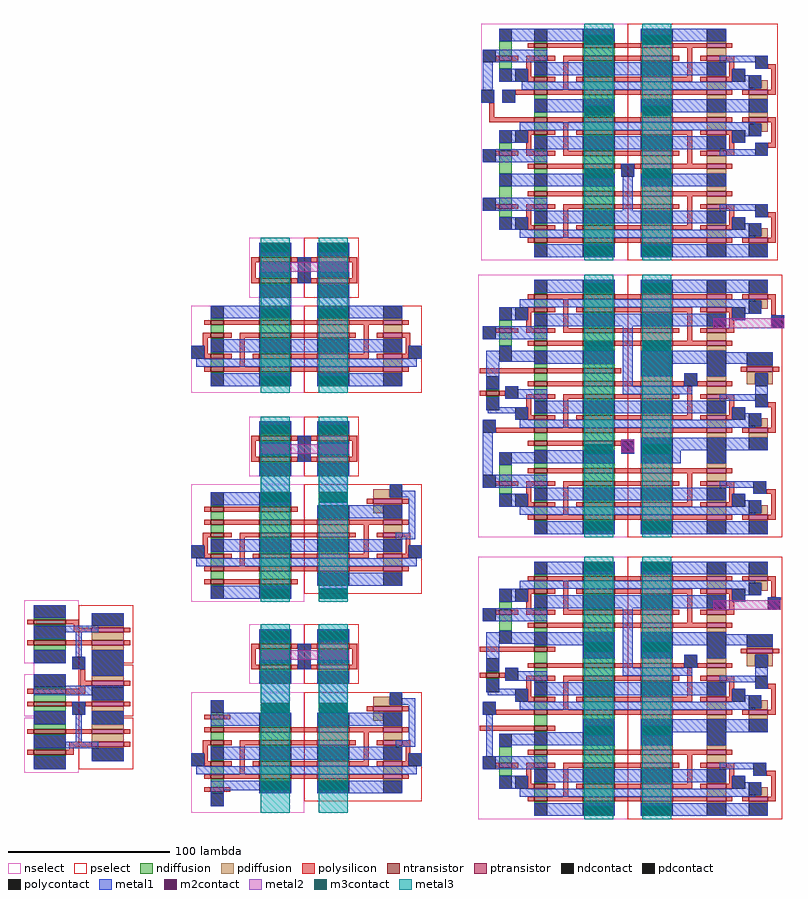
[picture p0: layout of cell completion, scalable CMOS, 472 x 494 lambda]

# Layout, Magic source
magic
tech scmos
use m_c2inv m_c2inv_0
transform 1 0 -13 0 1 -148
box -71 -12 74 84
use m_c4 m_c4_0
transform 1 0 188 0 1 -125
box -92 47 94 194
use s_or4 s_or4_0
transform 1 0 -153 0 1 -372
box -35 -24 35 83
use m_c2inv_rlo m_c2inv_rlo_0
transform 1 0 -13 0 1 -248
box -71 -42 74 73
use m_c4_rhi m_c4_rhi_0
transform 1 0 188 0 1 -252
box -94 2 98 165
use m_c2inv_plo m_c2inv_plo_0
transform 1 0 -13 0 1 -383
box -71 -38 74 79
use m_c4_phi m_c4_phi_0
transform 1 0 188 0 1 -422
box -94 -3 97 160
<< end >>

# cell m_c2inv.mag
magic
tech scmos
<< nselect >>
rect -34 47 0 84
rect -70 -12 0 42
<< pselect >>
rect 0 47 34 84
rect 0 -12 73 42
<< ndiffusion >>
rect -28 72 -8 73
rect -28 68 -8 69
rect -28 59 -8 60
rect -28 55 -8 56
rect -58 33 -50 34
rect -28 33 -8 34
rect -58 25 -50 30
rect -28 25 -8 30
rect -58 21 -50 22
rect -58 12 -50 13
rect -58 4 -50 9
rect -28 21 -8 22
rect -28 12 -8 13
rect -28 4 -8 9
rect -58 0 -50 1
rect -28 0 -8 1
<< pdiffusion >>
rect 8 72 28 73
rect 8 68 28 69
rect 8 59 28 60
rect 8 55 28 56
rect 8 33 28 34
rect 49 33 61 34
rect 8 25 28 30
rect 8 21 28 22
rect 8 12 28 13
rect 49 25 61 30
rect 49 21 61 22
rect 49 12 61 13
rect 8 4 28 9
rect 49 4 61 9
rect 8 0 28 1
rect 49 0 61 1
<< ntransistor >>
rect -28 69 -8 72
rect -28 56 -8 59
rect -58 30 -50 33
rect -28 30 -8 33
rect -58 22 -50 25
rect -28 22 -8 25
rect -58 9 -50 12
rect -28 9 -8 12
rect -58 1 -50 4
rect -28 1 -8 4
<< ptransistor >>
rect 8 69 28 72
rect 8 56 28 59
rect 8 30 28 33
rect 49 30 61 33
rect 8 22 28 25
rect 49 22 61 25
rect 8 9 28 12
rect 49 9 61 12
rect 8 1 28 4
rect 49 1 61 4
<< polysilicon >>
rect -33 69 -28 72
rect -8 69 -4 72
rect -33 59 -30 69
rect -33 56 -28 59
rect -8 56 -4 59
rect 4 69 8 72
rect 28 69 33 72
rect 30 59 33 69
rect 4 56 8 59
rect 28 56 33 59
rect -62 30 -58 33
rect -50 30 -28 33
rect -8 30 8 33
rect 28 30 49 33
rect 61 30 65 33
rect -63 22 -58 25
rect -50 22 -45 25
rect -40 22 -28 25
rect -8 22 8 25
rect 28 22 32 25
rect -63 17 -60 22
rect -62 12 -60 17
rect -62 9 -58 12
rect -50 9 -45 12
rect -40 4 -37 22
rect 37 12 40 30
rect 45 22 49 25
rect 61 22 66 25
rect 63 17 66 22
rect 63 12 65 17
rect -32 9 -28 12
rect -8 9 8 12
rect 28 9 40 12
rect 45 9 49 12
rect 61 9 65 12
rect -62 1 -58 4
rect -50 1 -28 4
rect -8 1 8 4
rect 28 1 49 4
rect 61 1 65 4
<< ndcontact >>
rect -28 73 -8 81
rect -28 60 -8 68
rect -28 47 -8 55
rect -58 34 -50 42
rect -28 34 -8 42
rect -58 13 -50 21
rect -28 13 -8 21
rect -58 -8 -50 0
rect -28 -8 -8 0
<< pdcontact >>
rect 8 73 28 81
rect 8 60 28 68
rect 8 47 28 55
rect 8 34 28 42
rect 49 34 61 42
rect 8 13 28 21
rect 49 13 61 21
rect 8 -8 28 0
rect 49 -8 61 0
<< polycontact >>
rect -4 56 4 72
rect -70 9 -62 17
rect 65 9 73 17
<< metal1 >>
rect -28 75 -27 81
rect -9 75 -8 81
rect -28 73 -8 75
rect 8 75 9 81
rect 27 75 28 81
rect 8 73 28 75
rect -28 60 -8 63
rect -4 56 4 72
rect 8 60 28 63
rect -28 42 -8 55
rect -58 40 -8 42
rect -58 34 -27 40
rect -9 34 -8 40
rect 8 42 28 55
rect 8 40 61 42
rect 8 34 9 40
rect 27 34 61 40
rect -70 9 -62 17
rect -58 13 61 21
rect 65 9 73 17
rect -67 4 70 9
rect -58 -2 -8 0
rect -58 -8 -27 -2
rect -9 -8 -8 -2
rect 8 -2 61 0
rect 8 -8 9 -2
rect 27 -8 61 -2
<< m2contact >>
rect -27 75 -9 81
rect 9 75 27 81
rect -28 63 -8 69
rect 8 63 28 69
rect -27 34 -9 40
rect 9 34 27 40
rect -27 -8 -9 -2
rect 9 -8 27 -2
<< metal2 >>
rect -28 63 28 69
<< m3contact >>
rect -27 75 -9 81
rect 9 75 27 81
rect -27 34 -9 40
rect 9 34 27 40
rect -27 -8 -9 -2
rect 9 -8 27 -2
<< metal3 >>
rect -27 -12 -9 84
rect 9 -12 27 84
<< labels >>
rlabel metal1 -66 13 -66 13 1 x
rlabel metal1 69 13 69 13 1 x
rlabel space -71 -12 -28 46 7 ^n1
rlabel space 28 -12 74 46 3 ^p1
rlabel space 28 47 35 84 3 ^p2
rlabel space -35 47 -28 84 7 ^n2
rlabel metal3 -27 -12 -9 84 1 GND!|pin|s|0
rlabel metal3 9 -12 27 84 1 Vdd!|pin|s|1
rlabel metal1 -58 34 -8 42 1 GND!|pin|s|0
rlabel metal1 -58 -8 -8 0 1 GND!|pin|s|0
rlabel metal1 -28 -8 -8 0 1 GND!|pin|s|0
rlabel metal1 -28 34 -8 42 1 GND!|pin|s|0
rlabel metal1 -28 47 -8 55 1 GND!|pin|s|0
rlabel metal1 -28 73 -8 81 1 GND!|pin|s|0
rlabel metal1 -28 42 -8 47 1 GND!|pin|s|0
rlabel metal1 8 42 28 47 1 Vdd!|pin|s|1
rlabel metal1 8 47 28 55 1 Vdd!|pin|s|1
rlabel metal1 8 73 28 81 1 Vdd!|pin|s|1
rlabel metal1 8 34 61 42 1 Vdd!|pin|s|1
rlabel metal1 8 34 28 42 1 Vdd!|pin|s|1
rlabel metal1 8 -8 61 0 1 Vdd!|pin|s|1
rlabel metal1 8 -8 28 0 1 Vdd!|pin|s|1
rlabel polysilicon -2 1 2 4 1 a|pin|w|3|poly
rlabel polysilicon -62 1 -58 4 1 a|pin|w|3|poly
rlabel polysilicon -2 30 2 33 1 b|pin|w|4|poly
rlabel polysilicon 61 30 65 33 1 b|pin|w|4|poly
rlabel metal2 -28 63 28 69 1 x|pin|s|7
rlabel metal1 -4 56 4 72 1 _x|pin|s|6
rlabel metal1 -58 13 61 21 1 _x|pin|s|5
rlabel metal1 -67 4 70 9 1 x|pin|s|8
<< end >>

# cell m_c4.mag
magic
tech scmos
<< nselect >>
rect -91 47 0 194
<< pselect >>
rect 0 47 93 194
<< ndiffusion >>
rect -80 174 -72 183
rect -58 182 -50 183
rect -28 182 -8 183
rect -58 174 -50 179
rect -28 174 -8 179
rect -80 166 -72 171
rect -58 170 -50 171
rect -58 161 -50 162
rect -58 153 -50 158
rect -28 170 -8 171
rect -28 161 -8 162
rect -28 153 -8 158
rect -58 147 -50 150
rect -58 136 -50 139
rect -28 147 -8 150
rect -28 136 -8 139
rect -58 128 -50 133
rect -80 115 -72 120
rect -58 124 -50 125
rect -58 115 -50 116
rect -28 128 -8 133
rect -28 124 -8 125
rect -28 115 -8 116
rect -80 101 -72 112
rect -58 107 -50 112
rect -28 107 -8 112
rect -80 82 -72 93
rect -58 101 -50 104
rect -58 90 -50 93
rect -28 101 -8 104
rect -28 90 -8 93
rect -58 82 -50 87
rect -28 82 -8 87
rect -80 74 -72 79
rect -58 78 -50 79
rect -58 69 -50 70
rect -58 61 -50 66
rect -28 78 -8 79
rect -28 69 -8 70
rect -28 61 -8 66
rect -58 57 -50 58
rect -28 57 -8 58
<< pdiffusion >>
rect 8 182 28 183
rect 49 182 61 183
rect 8 174 28 179
rect 8 170 28 171
rect 8 161 28 162
rect 49 174 61 179
rect 49 170 61 171
rect 49 161 61 162
rect 8 153 28 158
rect 49 153 61 158
rect 83 154 87 159
rect 75 153 87 154
rect 8 147 28 150
rect 8 136 28 139
rect 49 147 61 150
rect 49 136 61 139
rect 75 147 87 150
rect 75 136 87 139
rect 8 128 28 133
rect 49 128 61 133
rect 75 132 87 133
rect 8 124 28 125
rect 8 115 28 116
rect 8 107 28 112
rect 49 124 61 125
rect 49 115 61 116
rect 83 127 87 132
rect 49 107 61 112
rect 8 101 28 104
rect 8 90 28 93
rect 49 101 61 104
rect 49 90 61 93
rect 8 82 28 87
rect 8 78 28 79
rect 8 69 28 70
rect 49 82 61 87
rect 49 78 61 79
rect 49 69 61 70
rect 8 61 28 66
rect 49 61 61 66
rect 83 62 87 67
rect 75 61 87 62
rect 8 57 28 58
rect 49 57 61 58
rect 75 57 87 58
<< ntransistor >>
rect -58 179 -50 182
rect -28 179 -8 182
rect -80 171 -72 174
rect -58 171 -50 174
rect -28 171 -8 174
rect -58 158 -50 161
rect -28 158 -8 161
rect -58 150 -50 153
rect -28 150 -8 153
rect -58 133 -50 136
rect -28 133 -8 136
rect -58 125 -50 128
rect -28 125 -8 128
rect -80 112 -72 115
rect -58 112 -50 115
rect -28 112 -8 115
rect -58 104 -50 107
rect -28 104 -8 107
rect -58 87 -50 90
rect -28 87 -8 90
rect -80 79 -72 82
rect -58 79 -50 82
rect -28 79 -8 82
rect -58 66 -50 69
rect -28 66 -8 69
rect -58 58 -50 61
rect -28 58 -8 61
<< ptransistor >>
rect 8 179 28 182
rect 49 179 61 182
rect 8 171 28 174
rect 49 171 61 174
rect 8 158 28 161
rect 49 158 61 161
rect 8 150 28 153
rect 49 150 61 153
rect 75 150 87 153
rect 8 133 28 136
rect 49 133 61 136
rect 75 133 87 136
rect 8 125 28 128
rect 49 125 61 128
rect 8 112 28 115
rect 49 112 61 115
rect 8 104 28 107
rect 49 104 61 107
rect 8 87 28 90
rect 49 87 61 90
rect 8 79 28 82
rect 49 79 61 82
rect 8 66 28 69
rect 49 66 61 69
rect 8 58 28 61
rect 49 58 61 61
rect 75 58 87 61
<< polysilicon >>
rect -62 179 -58 182
rect -50 179 -28 182
rect -8 179 8 182
rect 28 179 49 182
rect 61 179 65 182
rect -82 171 -80 174
rect -72 171 -68 174
rect -63 171 -58 174
rect -50 171 -45 174
rect -40 171 -28 174
rect -8 171 8 174
rect 28 171 32 174
rect -63 166 -60 171
rect -62 161 -60 166
rect -62 158 -58 161
rect -50 158 -45 161
rect -40 153 -37 171
rect 37 161 40 179
rect 45 171 49 174
rect 61 171 66 174
rect 63 166 66 171
rect 87 166 92 169
rect 63 161 65 166
rect -32 158 -28 161
rect -8 158 8 161
rect 28 158 40 161
rect 45 158 49 161
rect 61 158 65 161
rect 89 153 92 166
rect -70 150 -58 153
rect -50 150 -28 153
rect -8 150 8 153
rect 28 150 49 153
rect 61 150 65 153
rect 71 150 75 153
rect 87 150 92 153
rect -86 136 -83 145
rect -86 133 -58 136
rect -50 133 -28 136
rect -8 133 8 136
rect 28 133 49 136
rect 61 133 65 136
rect 71 133 75 136
rect 87 133 92 136
rect -62 125 -58 128
rect -50 125 -45 128
rect -62 120 -60 125
rect -63 115 -60 120
rect -40 115 -37 133
rect -32 125 -28 128
rect -8 125 8 128
rect 28 125 40 128
rect 45 125 49 128
rect 61 125 65 128
rect -82 112 -80 115
rect -72 112 -68 115
rect -63 112 -58 115
rect -50 112 -45 115
rect -40 112 -28 115
rect -8 112 8 115
rect 28 112 32 115
rect 37 107 40 125
rect 63 120 65 125
rect 89 120 92 133
rect 63 115 66 120
rect 45 112 49 115
rect 61 112 66 115
rect 87 117 92 120
rect -62 104 -58 107
rect -50 104 -28 107
rect -8 104 -4 107
rect 4 104 8 107
rect 28 104 49 107
rect 61 104 65 107
rect -62 87 -58 90
rect -50 87 -28 90
rect -8 87 8 90
rect 28 87 49 90
rect 61 87 65 90
rect -82 79 -80 82
rect -72 79 -68 82
rect -63 79 -58 82
rect -50 79 -45 82
rect -40 79 -28 82
rect -8 79 8 82
rect 28 79 32 82
rect -63 74 -60 79
rect -62 69 -60 74
rect -62 66 -58 69
rect -50 66 -45 69
rect -40 61 -37 79
rect 37 69 40 87
rect 45 79 49 82
rect 61 79 66 82
rect 63 74 66 79
rect 87 74 92 77
rect 63 69 65 74
rect -32 66 -28 69
rect -8 66 8 69
rect 28 66 40 69
rect 45 66 49 69
rect 61 66 65 69
rect 89 61 92 74
rect -62 58 -58 61
rect -50 58 -28 61
rect -8 58 8 61
rect 28 58 49 61
rect 61 58 65 61
rect 71 58 75 61
rect 87 58 92 61
<< ndcontact >>
rect -80 183 -72 191
rect -58 183 -50 191
rect -28 183 -8 191
rect -80 158 -72 166
rect -58 162 -50 170
rect -28 162 -8 170
rect -58 139 -50 147
rect -28 139 -8 147
rect -80 120 -72 128
rect -58 116 -50 124
rect -28 116 -8 124
rect -80 93 -72 101
rect -58 93 -50 101
rect -28 93 -8 101
rect -80 66 -72 74
rect -58 70 -50 78
rect -28 70 -8 78
rect -58 49 -50 57
rect -28 49 -8 57
<< pdcontact >>
rect 8 183 28 191
rect 49 183 61 191
rect 8 162 28 170
rect 49 162 61 170
rect 75 154 83 162
rect 8 139 28 147
rect 49 139 61 147
rect 75 139 87 147
rect 8 116 28 124
rect 49 116 61 124
rect 75 124 83 132
rect 8 93 28 101
rect 49 93 61 101
rect 8 70 28 78
rect 49 70 61 78
rect 75 62 83 70
rect 8 49 28 57
rect 49 49 61 57
rect 75 49 87 57
<< polycontact >>
rect -90 170 -82 178
rect -70 158 -62 166
rect 79 166 87 174
rect 65 158 73 166
rect -91 145 -83 153
rect -78 145 -70 153
rect -70 120 -62 128
rect -90 108 -82 116
rect 65 120 73 128
rect 79 112 87 120
rect -90 78 -82 86
rect -4 99 4 107
rect -70 66 -62 74
rect 79 74 87 82
rect 65 66 73 74
<< metal1 >>
rect -80 187 -8 191
rect -80 183 -27 187
rect -9 183 -8 187
rect 8 187 61 191
rect 8 183 9 187
rect 27 183 61 187
rect -90 170 -50 178
rect 57 170 87 174
rect -90 153 -84 170
rect -80 158 -62 166
rect -58 162 61 170
rect 79 166 87 170
rect 65 162 73 166
rect 65 158 83 162
rect -66 154 83 158
rect -66 153 79 154
rect -91 145 -83 153
rect -78 145 -70 153
rect -58 143 -8 147
rect -58 139 -27 143
rect -9 139 -8 143
rect 8 143 87 147
rect 8 139 9 143
rect 27 139 87 143
rect -67 132 79 133
rect -67 128 83 132
rect -80 120 -62 128
rect 65 124 83 128
rect -58 116 61 124
rect 65 120 73 124
rect 79 116 87 120
rect -90 108 -50 116
rect 57 112 87 116
rect -80 98 -27 101
rect -9 98 -8 101
rect -4 99 4 107
rect -80 93 -8 98
rect -90 78 -50 86
rect -3 78 3 99
rect 8 98 9 101
rect 27 98 61 101
rect 8 93 61 98
rect 57 78 87 82
rect -80 66 -62 74
rect -58 70 61 78
rect 79 74 87 78
rect 65 70 73 74
rect 65 66 83 70
rect -67 62 83 66
rect -67 61 79 62
rect -58 56 -8 57
rect -58 50 -27 56
rect -9 50 -8 56
rect -58 49 -8 50
rect 8 56 87 57
rect 8 50 9 56
rect 27 50 87 56
rect 8 49 87 50
<< m2contact >>
rect -27 181 -9 187
rect 9 181 27 187
rect -27 137 -9 143
rect 9 137 27 143
rect -27 98 -9 104
rect 9 98 27 104
rect -27 50 -9 56
rect 9 50 27 56
<< m3contact >>
rect -27 181 -9 187
rect 9 181 27 187
rect -27 137 -9 143
rect 9 137 27 143
rect -27 98 -9 104
rect 9 98 27 104
rect -27 50 -9 56
rect 9 50 27 56
<< metal3 >>
rect -27 47 -9 194
rect 9 47 27 194
<< labels >>
rlabel metal1 -86 112 -86 112 1 x
rlabel metal1 83 116 83 116 1 x
rlabel metal1 -58 116 61 124 1 x
rlabel metal1 0 101 0 101 1 _ab
rlabel metal1 -58 70 61 78 1 _ab
rlabel metal1 -58 162 61 170 1 _cd
rlabel metal1 -78 145 -70 153 1 c
rlabel nselect -41 100 -28 140 3 ^nx
rlabel pselect 28 100 41 140 7 ^px
rlabel space -92 47 -28 194 7 ^n
rlabel space 28 47 94 194 3 ^p
rlabel nselect -41 49 -28 94 3 ^nab
rlabel pselect 28 49 41 94 7 ^pab
rlabel nselect -41 146 -28 191 3 ^ncd
rlabel pselect 28 146 41 191 7 ^pcd
rlabel metal3 -27 47 -9 194 1 GND!|pin|s|0
rlabel metal3 9 47 27 194 1 Vdd!|pin|s|1
rlabel metal1 -80 183 -8 191 1 GND!|pin|s|0
rlabel metal1 -80 93 -8 101 1 GND!|pin|s|0
rlabel metal1 -58 49 -8 57 1 GND!|pin|s|0
rlabel metal1 -58 139 -8 147 1 GND!|pin|s|0
rlabel metal1 8 183 61 191 1 Vdd!|pin|s|1
rlabel metal1 8 93 61 101 1 Vdd!|pin|s|1
rlabel metal1 8 49 87 57 1 Vdd!|pin|s|1
rlabel metal1 8 139 87 147 1 Vdd!|pin|s|1
rlabel polysilicon -2 58 2 61 1 a|pin|w|3|poly
rlabel polysilicon -62 58 -58 61 1 a|pin|w|3|poly
rlabel polysilicon 61 87 65 90 1 b|pin|w|4|poly
rlabel polysilicon -2 179 2 182 1 d|pin|w|6|poly
rlabel polysilicon 61 179 65 182 1 d|pin|w|6|poly
<< end >>

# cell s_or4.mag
magic
tech scmos
<< nselect >>
rect -34 44 0 83
rect -28 37 0 44
rect -34 11 0 37
rect -28 10 0 11
rect -34 -24 0 10
<< pselect >>
rect 0 44 34 80
rect 0 43 28 44
rect 0 11 34 43
rect 0 10 28 11
rect 0 -22 34 10
<< ndiffusion >>
rect -28 71 -8 72
rect -28 67 -8 68
rect -28 58 -8 59
rect -28 52 -8 55
rect -28 28 -8 29
rect -28 20 -8 25
rect -28 14 -8 17
rect -28 3 -8 6
rect -28 -1 -8 0
rect -28 -10 -8 -9
rect -28 -14 -8 -13
<< pdiffusion >>
rect 8 66 28 67
rect 8 58 28 63
rect 8 52 28 55
rect 8 33 28 36
rect 8 29 28 30
rect 8 20 28 21
rect 8 14 28 17
rect 8 3 28 6
rect 8 -5 28 0
rect 8 -9 28 -8
<< ntransistor >>
rect -28 68 -8 71
rect -28 55 -8 58
rect -28 25 -8 28
rect -28 17 -8 20
rect -28 0 -8 3
rect -28 -13 -8 -10
<< ptransistor >>
rect 8 63 28 66
rect 8 55 28 58
rect 8 30 28 33
rect 8 17 28 20
rect 8 0 28 3
rect 8 -8 28 -5
<< polysilicon >>
rect -32 68 -28 71
rect -8 68 0 71
rect -3 66 0 68
rect -3 63 8 66
rect 28 63 32 66
rect -32 55 -28 58
rect -8 55 8 58
rect 28 55 32 58
rect 1 33 4 40
rect 1 30 8 33
rect 28 30 32 33
rect 1 28 4 30
rect -32 25 -28 28
rect -8 25 4 28
rect -32 17 -28 20
rect -8 17 -4 20
rect 4 17 8 20
rect 28 17 32 20
rect -32 0 -28 3
rect -8 0 8 3
rect 28 0 32 3
rect -6 -8 8 -5
rect 28 -8 32 -5
rect -6 -10 -3 -8
rect -32 -13 -28 -10
rect -8 -13 -3 -10
<< ndcontact >>
rect -28 72 -8 80
rect -28 59 -8 67
rect -28 44 -8 52
rect -28 29 -8 37
rect -28 6 -8 14
rect -28 -9 -8 -1
rect -28 -22 -8 -14
<< pdcontact >>
rect 8 67 28 75
rect 8 36 28 52
rect 8 21 28 29
rect 8 6 28 14
rect 8 -17 28 -9
<< polycontact >>
rect -4 40 4 48
rect -4 12 4 20
<< metal1 >>
rect -28 72 -8 80
rect 8 67 28 75
rect -28 63 12 67
rect -28 59 -8 63
rect -28 44 -8 52
rect -2 48 2 63
rect -4 40 4 48
rect -28 30 -8 37
rect 8 36 28 52
rect -28 24 28 30
rect 8 21 28 24
rect -28 6 -8 14
rect -4 12 4 20
rect -28 -5 -8 -1
rect -2 -5 2 12
rect 8 6 28 14
rect -28 -9 12 -5
rect -28 -22 -8 -14
rect 8 -17 28 -9
<< labels >>
rlabel metal1 -28 24 28 30 1 av
rlabel space -35 -24 -28 10 7 ^n01
rlabel space -35 11 -28 37 7 ^n03
rlabel space -35 44 -28 83 7 ^n23
rlabel space 28 -22 35 10 3 ^p01
rlabel space 28 11 35 43 3 ^p03
rlabel space 28 44 35 80 3 ^p23
rlabel polysilicon -32 -13 -28 -10 1 a0|pin|w|2|poly
rlabel polysilicon -7 -13 -3 -10 1 a0|pin|w|2|poly
rlabel polysilicon 28 -8 32 -5 1 a0|pin|w|2|poly
rlabel polysilicon 28 0 32 3 1 a1|pin|w|3|poly
rlabel polysilicon -32 0 -28 3 1 a1|pin|w|3|poly
rlabel polysilicon 28 55 32 58 1 a2|pin|w|4|poly
rlabel polysilicon -32 55 -28 58 1 a2|pin|w|4|poly
rlabel polysilicon -32 68 -28 71 1 a3|pin|w|5|poly
rlabel polysilicon -4 68 0 71 1 a3|pin|w|5|poly
rlabel polysilicon 28 63 32 66 1 a3|pin|w|5|poly
rlabel metal1 -28 -9 -8 -1 1 _a_01|pin|s|6
rlabel metal1 -28 59 -8 67 1 _a_23|pin|s|7
rlabel metal1 8 67 28 75 1 _a_23|pin|s|7
rlabel metal1 8 -17 28 -9 1 _a_01|pin|s|6
rlabel metal1 8 36 28 52 1 Vdd!|pin|s|1
rlabel metal1 8 6 28 14 1 Vdd!|pin|s|0
rlabel metal1 -28 6 -8 14 1 GND!|pin|s|1
rlabel metal1 -28 44 -8 52 1 GND!|pin|s|2
rlabel metal1 -28 72 -8 80 1 GND!|pin|s|3
rlabel metal1 -28 -22 -8 -14 1 GND!|pin|s|0
rlabel metal1 -28 24 -8 37 1 av
rlabel metal1 8 21 28 29 1 av
<< end >>

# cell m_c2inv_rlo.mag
magic
tech scmos
<< nselect >>
rect -34 36 0 73
rect -70 -42 0 31
<< pselect >>
rect 0 36 34 73
rect 0 -37 73 31
<< ndiffusion >>
rect -28 61 -8 62
rect -28 57 -8 58
rect -28 48 -8 49
rect -28 44 -8 45
rect -58 17 -50 18
rect -28 17 -8 18
rect -58 9 -50 14
rect -28 9 -8 14
rect -58 1 -50 6
rect -28 1 -8 6
rect -58 -3 -50 -2
rect -58 -12 -50 -11
rect -58 -20 -50 -15
rect -28 -3 -8 -2
rect -28 -12 -8 -11
rect -28 -20 -8 -15
rect -58 -28 -50 -23
rect -28 -28 -8 -23
rect -58 -32 -50 -31
rect -28 -32 -8 -31
<< pdiffusion >>
rect 8 61 28 62
rect 8 57 28 58
rect 8 48 28 49
rect 8 44 28 45
rect 43 23 53 28
rect 43 22 61 23
rect 43 18 61 19
rect 43 13 49 18
rect 8 9 28 10
rect 49 9 61 10
rect 8 1 28 6
rect 8 -3 28 -2
rect 8 -12 28 -11
rect 49 1 61 6
rect 49 -3 61 -2
rect 49 -12 61 -11
rect 8 -20 28 -15
rect 49 -20 61 -15
rect 8 -24 28 -23
rect 49 -24 61 -23
<< ntransistor >>
rect -28 58 -8 61
rect -28 45 -8 48
rect -58 14 -50 17
rect -28 14 -8 17
rect -58 6 -50 9
rect -28 6 -8 9
rect -58 -2 -50 1
rect -28 -2 -8 1
rect -58 -15 -50 -12
rect -28 -15 -8 -12
rect -58 -23 -50 -20
rect -28 -23 -8 -20
rect -58 -31 -50 -28
rect -28 -31 -8 -28
<< ptransistor >>
rect 8 58 28 61
rect 8 45 28 48
rect 43 19 61 22
rect 8 6 28 9
rect 49 6 61 9
rect 8 -2 28 1
rect 49 -2 61 1
rect 8 -15 28 -12
rect 49 -15 61 -12
rect 8 -23 28 -20
rect 49 -23 61 -20
<< polysilicon >>
rect -33 58 -28 61
rect -8 58 -4 61
rect -33 48 -30 58
rect -33 45 -28 48
rect -8 45 -4 48
rect 4 58 8 61
rect 28 58 33 61
rect 30 48 33 58
rect 4 45 8 48
rect 28 45 33 48
rect 39 19 43 22
rect 61 19 65 22
rect -62 14 -58 17
rect -50 14 -28 17
rect -8 14 -4 17
rect -62 6 -58 9
rect -50 6 -28 9
rect -8 6 8 9
rect 28 6 49 9
rect 61 6 65 9
rect -63 -2 -58 1
rect -50 -2 -45 1
rect -40 -2 -28 1
rect -8 -2 8 1
rect 28 -2 32 1
rect -63 -7 -60 -2
rect -62 -12 -60 -7
rect -62 -15 -58 -12
rect -50 -15 -45 -12
rect -40 -20 -37 -2
rect 37 -12 40 6
rect 45 -2 49 1
rect 61 -2 66 1
rect 63 -7 66 -2
rect 63 -12 65 -7
rect -32 -15 -28 -12
rect -8 -15 8 -12
rect 28 -15 40 -12
rect 45 -15 49 -12
rect 61 -15 65 -12
rect -62 -23 -58 -20
rect -50 -23 -28 -20
rect -8 -23 8 -20
rect 28 -23 49 -20
rect 61 -23 65 -20
rect -62 -31 -58 -28
rect -50 -31 -28 -28
rect -8 -31 -4 -28
<< ndcontact >>
rect -28 62 -8 70
rect -28 49 -8 57
rect -28 36 -8 44
rect -58 18 -50 26
rect -28 18 -8 26
rect -58 -11 -50 -3
rect -28 -11 -8 -3
rect -58 -40 -50 -32
rect -28 -40 -8 -32
<< pdcontact >>
rect 8 62 28 70
rect 8 49 28 57
rect 8 36 28 44
rect 53 23 61 31
rect 8 10 28 18
rect 49 10 61 18
rect 8 -11 28 -3
rect 49 -11 61 -3
rect 8 -32 28 -24
rect 49 -32 61 -24
<< polycontact >>
rect -4 45 4 61
rect -70 -15 -62 -7
rect 65 -15 73 -7
<< metal1 >>
rect -28 68 -8 70
rect -28 62 -27 68
rect -9 62 -8 68
rect 8 68 28 70
rect 8 62 9 68
rect 26 62 28 68
rect -28 56 -8 57
rect -28 49 -8 50
rect -4 45 4 61
rect 8 56 28 57
rect 8 49 28 50
rect -28 36 -8 44
rect 8 36 28 44
rect -27 26 -9 36
rect 9 26 27 36
rect -58 20 -27 26
rect -9 20 -8 26
rect -58 18 -8 20
rect 53 27 61 31
rect 53 23 69 27
rect 9 18 27 20
rect 8 10 61 18
rect 65 1 69 23
rect 57 -3 69 1
rect -70 -15 -62 -7
rect -58 -11 61 -3
rect 65 -15 73 -7
rect -67 -20 70 -15
rect 8 -32 61 -24
rect -58 -34 -8 -32
rect -58 -40 -27 -34
rect -9 -40 -8 -34
rect 9 -34 27 -32
<< m2contact >>
rect -27 62 -9 68
rect 9 62 26 68
rect -28 50 -8 56
rect 8 50 28 56
rect -27 20 -9 26
rect 9 20 27 26
rect -27 -40 -9 -34
rect 9 -40 27 -34
<< metal2 >>
rect -28 50 28 56
<< m3contact >>
rect -27 62 -9 68
rect 9 62 27 68
rect -27 20 -9 26
rect 9 20 27 26
rect -27 -40 -9 -34
rect 9 -40 27 -34
<< metal3 >>
rect -27 -42 -9 73
rect 9 -42 27 73
<< labels >>
rlabel metal1 -66 -11 -66 -11 1 x
rlabel metal1 69 -11 69 -11 1 x
rlabel metal1 57 27 57 27 5 _x
rlabel space -71 -42 -28 31 7 ^n1
rlabel space 28 -37 74 35 3 ^p1
rlabel space -35 36 -28 73 7 ^n2
rlabel space 28 36 35 73 3 ^p2
rlabel metal3 -27 -42 -9 73 1 GND!|pin|s|0
rlabel metal3 9 -42 27 73 1 Vdd!|pin|s|1
rlabel metal1 -58 -40 -8 -32 1 GND!|pin|s|0
rlabel metal1 -58 18 -8 26 1 GND!|pin|s|0
rlabel metal1 -27 26 -9 36 1 GND!|pin|s|0
rlabel metal1 -28 36 -8 44 1 GND!|pin|s|0
rlabel metal1 -28 62 -8 70 1 GND!|pin|s|0
rlabel metal1 8 -32 61 -24 1 Vdd!|pin|s|1
rlabel metal1 8 10 61 18 1 Vdd!|pin|s|1
rlabel metal1 9 18 27 36 1 Vdd!|pin|s|1
rlabel metal1 8 36 28 44 1 Vdd!|pin|s|1
rlabel metal1 8 62 28 70 1 Vdd!|pin|s|1
rlabel metal1 9 -40 27 -32 1 Vdd!|pin|s|1
rlabel polysilicon -62 -23 -58 -20 1 a|pin|w|3|poly
rlabel polysilicon -41 -23 -37 -20 1 a|pin|w|3|poly
rlabel polysilicon -1 -23 3 -20 1 a|pin|w|3|poly
rlabel polysilicon -2 6 2 9 1 b|pin|w|4|poly
rlabel polysilicon 61 6 65 9 1 b|pin|w|4|poly
rlabel polysilicon -62 -31 -58 -28 1 _SReset!|pin|w|5|poly
rlabel polysilicon -8 -31 -4 -28 1 _SReset!|pin|w|5|poly
rlabel polysilicon -62 14 -58 17 1 _SReset!|pin|w|6|poly
rlabel polysilicon -8 14 -4 17 1 _SReset!|pin|w|6|poly
rlabel polysilicon 39 19 43 22 1 _PReset!|pin|w|7|poly
rlabel polysilicon 61 19 65 22 1 _PReset!|pin|w|7|poly
rlabel metal1 -58 -11 61 -3 1 _x|pin|s|2
rlabel metal1 -4 45 4 61 1 _x|pin|s|8
rlabel metal2 -28 50 28 56 1 x|pin|s|9
rlabel metal1 -67 -20 70 -15 1 x|pin|s|10
<< end >>

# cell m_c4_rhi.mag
magic
tech scmos
<< nselect >>
rect -93 2 0 165
<< pselect >>
rect 0 2 96 165
<< ndiffusion >>
rect -58 153 -50 154
rect -28 153 -8 154
rect -58 145 -50 150
rect -80 132 -72 137
rect -58 141 -50 142
rect -58 132 -50 133
rect -28 145 -8 150
rect -28 141 -8 142
rect -28 132 -8 133
rect -80 121 -72 129
rect -58 124 -50 129
rect -28 124 -8 129
rect -58 118 -50 121
rect -58 107 -50 110
rect -28 118 -8 121
rect -28 107 -8 110
rect -58 99 -50 104
rect -28 99 -8 104
rect -88 93 -80 94
rect -88 89 -80 90
rect -58 91 -50 96
rect -28 91 -8 96
rect -58 87 -50 88
rect -58 78 -50 79
rect -58 70 -50 75
rect -28 87 -8 88
rect -28 78 -8 79
rect -28 70 -8 75
rect -58 62 -50 67
rect -28 62 -8 67
rect -58 56 -50 59
rect -80 37 -72 47
rect -58 45 -50 48
rect -28 56 -8 59
rect -28 45 -8 48
rect -58 37 -50 42
rect -28 37 -8 42
rect -80 29 -72 34
rect -58 33 -50 34
rect -58 24 -50 25
rect -58 16 -50 21
rect -28 33 -8 34
rect -28 24 -8 25
rect -28 16 -8 21
rect -58 12 -50 13
rect -28 12 -8 13
<< pdiffusion >>
rect 8 153 28 154
rect 49 153 61 154
rect 75 153 87 154
rect 8 145 28 150
rect 49 145 61 150
rect 75 149 87 150
rect 8 141 28 142
rect 8 132 28 133
rect 8 124 28 129
rect 49 141 61 142
rect 49 132 61 133
rect 83 144 87 149
rect 49 124 61 129
rect 8 118 28 121
rect 49 118 61 121
rect 8 99 28 102
rect 74 108 90 109
rect 49 99 61 102
rect 74 104 90 105
rect 74 97 79 104
rect 87 97 90 104
rect 8 91 28 96
rect 8 87 28 88
rect 8 78 28 79
rect 49 91 61 96
rect 49 87 61 88
rect 49 78 61 79
rect 8 70 28 75
rect 49 70 61 75
rect 83 71 87 76
rect 75 70 87 71
rect 8 64 28 67
rect 8 45 28 48
rect 49 64 61 67
rect 75 64 87 67
rect 49 45 61 48
rect 8 37 28 42
rect 8 33 28 34
rect 8 24 28 25
rect 49 37 61 42
rect 49 33 61 34
rect 49 24 61 25
rect 8 16 28 21
rect 49 16 61 21
rect 83 17 87 22
rect 75 16 87 17
rect 8 12 28 13
rect 49 12 61 13
rect 75 12 87 13
<< ntransistor >>
rect -58 150 -50 153
rect -28 150 -8 153
rect -58 142 -50 145
rect -28 142 -8 145
rect -80 129 -72 132
rect -58 129 -50 132
rect -28 129 -8 132
rect -58 121 -50 124
rect -28 121 -8 124
rect -58 104 -50 107
rect -28 104 -8 107
rect -58 96 -50 99
rect -28 96 -8 99
rect -88 90 -80 93
rect -58 88 -50 91
rect -28 88 -8 91
rect -58 75 -50 78
rect -28 75 -8 78
rect -58 67 -50 70
rect -28 67 -8 70
rect -58 59 -50 62
rect -28 59 -8 62
rect -58 42 -50 45
rect -28 42 -8 45
rect -80 34 -72 37
rect -58 34 -50 37
rect -28 34 -8 37
rect -58 21 -50 24
rect -28 21 -8 24
rect -58 13 -50 16
rect -28 13 -8 16
<< ptransistor >>
rect 8 150 28 153
rect 49 150 61 153
rect 75 150 87 153
rect 8 142 28 145
rect 49 142 61 145
rect 8 129 28 132
rect 49 129 61 132
rect 8 121 28 124
rect 49 121 61 124
rect 8 96 28 99
rect 74 105 90 108
rect 49 96 61 99
rect 8 88 28 91
rect 49 88 61 91
rect 8 75 28 78
rect 49 75 61 78
rect 8 67 28 70
rect 49 67 61 70
rect 75 67 87 70
rect 8 42 28 45
rect 49 42 61 45
rect 8 34 28 37
rect 49 34 61 37
rect 8 21 28 24
rect 49 21 61 24
rect 8 13 28 16
rect 49 13 61 16
rect 75 13 87 16
<< polysilicon >>
rect -62 150 -58 153
rect -50 150 -28 153
rect -8 150 8 153
rect 28 150 49 153
rect 61 150 65 153
rect 71 150 75 153
rect 87 150 92 153
rect -62 142 -58 145
rect -50 142 -45 145
rect -62 137 -60 142
rect -63 132 -60 137
rect -40 132 -37 150
rect -32 142 -28 145
rect -8 142 8 145
rect 28 142 40 145
rect 45 142 49 145
rect 61 142 65 145
rect -82 129 -80 132
rect -72 129 -68 132
rect -63 129 -58 132
rect -50 129 -45 132
rect -40 129 -28 132
rect -8 129 8 132
rect 28 129 32 132
rect 37 124 40 142
rect 63 137 65 142
rect 89 140 92 150
rect 63 132 66 137
rect 45 129 49 132
rect 61 129 66 132
rect -62 121 -58 124
rect -50 121 -28 124
rect -8 121 8 124
rect 28 121 49 124
rect 61 121 65 124
rect -92 104 -58 107
rect -50 104 -28 107
rect -8 104 -4 107
rect -62 96 -58 99
rect -50 96 -28 99
rect -8 96 8 99
rect 28 96 35 99
rect 70 105 74 108
rect 90 105 94 108
rect 43 96 49 99
rect 61 96 65 99
rect -92 90 -88 93
rect -80 90 -76 93
rect -63 88 -58 91
rect -50 88 -45 91
rect -40 88 -28 91
rect -8 88 8 91
rect 28 88 32 91
rect -63 83 -60 88
rect -62 78 -60 83
rect -62 75 -58 78
rect -50 75 -45 78
rect -40 70 -37 88
rect 37 78 40 96
rect 45 88 49 91
rect 61 88 66 91
rect 63 83 66 88
rect 87 83 92 86
rect 63 78 65 83
rect -32 75 -28 78
rect -8 75 8 78
rect 28 75 40 78
rect 45 75 49 78
rect 61 75 65 78
rect 89 70 92 83
rect -82 67 -58 70
rect -50 67 -28 70
rect -8 67 8 70
rect 28 67 49 70
rect 61 67 65 70
rect 71 67 75 70
rect 87 67 92 70
rect -62 59 -58 62
rect -50 59 -28 62
rect -8 59 -4 62
rect -62 42 -58 45
rect -50 42 -28 45
rect -8 42 8 45
rect 28 42 49 45
rect 61 42 65 45
rect -82 34 -80 37
rect -72 34 -68 37
rect -63 34 -58 37
rect -50 34 -45 37
rect -40 34 -28 37
rect -8 34 8 37
rect 28 34 32 37
rect -63 29 -60 34
rect -62 24 -60 29
rect -62 21 -58 24
rect -50 21 -45 24
rect -40 16 -37 34
rect 37 24 40 42
rect 45 34 49 37
rect 61 34 66 37
rect 63 29 66 34
rect 86 29 92 32
rect 63 24 65 29
rect -32 21 -28 24
rect -8 21 8 24
rect 28 21 40 24
rect 45 21 49 24
rect 61 21 65 24
rect 89 16 92 29
rect -62 13 -58 16
rect -50 13 -28 16
rect -8 13 8 16
rect 28 13 49 16
rect 61 13 65 16
rect 71 13 75 16
rect 87 13 92 16
<< ndcontact >>
rect -58 154 -50 162
rect -28 154 -8 162
rect -80 137 -72 145
rect -58 133 -50 141
rect -28 133 -8 141
rect -80 111 -72 121
rect -58 110 -50 118
rect -28 110 -8 118
rect -88 94 -80 102
rect -88 81 -80 89
rect -58 79 -50 87
rect -28 79 -8 87
rect -80 47 -72 55
rect -58 48 -50 56
rect -28 48 -8 56
rect -80 21 -72 29
rect -58 25 -50 33
rect -28 25 -8 33
rect -58 4 -50 12
rect -28 4 -8 12
<< pdcontact >>
rect 8 154 28 162
rect 49 154 61 162
rect 75 154 87 162
rect 8 133 28 141
rect 49 133 61 141
rect 75 141 83 149
rect 8 102 28 118
rect 49 102 61 118
rect 74 109 90 117
rect 79 96 87 104
rect 8 79 28 87
rect 49 79 61 87
rect 75 71 83 79
rect 8 48 28 64
rect 49 48 61 64
rect 75 56 87 64
rect 8 25 28 33
rect 49 25 61 33
rect 75 17 83 25
rect 8 4 28 12
rect 49 4 61 12
rect 75 4 87 12
<< polycontact >>
rect -70 137 -62 145
rect -90 125 -82 133
rect 65 137 73 145
rect 89 132 97 140
rect 35 96 43 104
rect -76 88 -68 96
rect -70 75 -62 83
rect -90 67 -82 75
rect 79 83 87 91
rect 65 75 73 83
rect -90 33 -82 41
rect -4 54 4 62
rect -70 21 -62 29
rect 78 29 86 37
rect 65 21 73 29
<< metal1 >>
rect -58 160 -8 162
rect -58 154 -27 160
rect -9 154 -8 160
rect 8 160 87 162
rect 8 154 9 160
rect 27 154 87 160
rect -67 149 79 150
rect -67 145 83 149
rect -80 137 -62 145
rect 65 141 83 145
rect -58 138 61 141
rect -58 133 53 138
rect -90 125 -50 133
rect -80 118 -72 121
rect -88 111 -8 118
rect -88 94 -80 111
rect -58 110 -8 111
rect -3 96 3 133
rect 65 137 73 141
rect 89 138 97 140
rect 8 117 61 118
rect 8 110 90 117
rect 8 102 28 110
rect 35 96 43 104
rect 49 102 61 110
rect 74 109 90 110
rect -76 94 -68 96
rect -88 83 -80 89
rect -76 88 -50 94
rect -3 91 40 96
rect 79 91 87 104
rect -58 87 -50 88
rect 57 87 87 91
rect -88 81 -62 83
rect -87 79 -62 81
rect -58 79 61 87
rect 79 83 87 87
rect 65 79 73 83
rect -70 75 -62 79
rect 65 75 83 79
rect -90 67 -82 75
rect -67 71 83 75
rect -67 70 79 71
rect -90 41 -84 67
rect -58 55 -27 56
rect -80 54 -27 55
rect -9 54 -8 56
rect -4 54 4 55
rect 8 60 87 64
rect 8 54 9 60
rect 27 56 87 60
rect 27 54 33 56
rect -80 48 -8 54
rect 8 48 33 54
rect 49 48 61 56
rect -80 47 -72 48
rect -90 33 -50 41
rect 57 33 86 37
rect -80 21 -62 29
rect -58 25 61 33
rect 78 29 86 33
rect 65 25 73 29
rect 65 21 83 25
rect -67 17 83 21
rect -67 16 79 17
rect -58 6 -27 12
rect -9 6 -8 12
rect -58 4 -8 6
rect 8 6 9 12
rect 27 6 87 12
rect 8 4 87 6
<< m2contact >>
rect -27 154 -9 160
rect 9 154 27 160
rect -27 118 -9 124
rect 53 132 61 138
rect 89 132 97 138
rect 9 118 27 124
rect -27 54 -9 60
rect -4 55 4 63
rect 9 54 27 60
rect -27 6 -9 12
rect 9 6 27 12
<< metal2 >>
rect 53 132 97 138
rect -4 55 4 63
<< m3contact >>
rect -27 154 -9 160
rect 9 154 27 160
rect -27 118 -9 124
rect 9 118 27 124
rect -27 54 -9 60
rect 9 54 27 60
rect -27 6 -9 12
rect 9 6 27 12
<< metal3 >>
rect -27 2 -9 165
rect 9 2 27 165
<< labels >>
rlabel metal1 -72 92 -72 92 5 x
rlabel metal1 -86 71 -86 71 1 _ab
rlabel metal1 83 87 83 87 1 x
rlabel metal1 -58 79 61 87 1 x
rlabel metal1 -58 25 61 33 1 _ab
rlabel metal2 -4 55 4 63 1 _SReset!
rlabel metal1 39 102 39 102 1 _cd
rlabel metal1 -58 133 53 141 1 _cd
rlabel nselect -41 55 -28 111 3 ^nx
rlabel pselect 28 63 44 105 7 ^px
rlabel space -94 2 -28 165 7 ^n
rlabel space 28 2 98 165 3 ^p
rlabel nselect -41 4 -28 49 3 ^nab
rlabel pselect 28 4 41 49 7 ^pab
rlabel nselect -41 117 -28 162 3 ^ncd
rlabel pselect 28 117 41 162 7 ^pcd
rlabel metal3 -27 2 -9 165 1 GND!|pin|s|0
rlabel metal3 9 2 27 165 1 Vdd!|pin|s|1
rlabel metal1 -58 154 -8 162 1 GND!|pin|s|0
rlabel metal1 -58 4 -8 12 1 GND!|pin|s|0
rlabel metal1 -80 48 -8 55 1 GND!|pin|s|0
rlabel metal1 -80 111 -8 118 1 GND!|pin|s|0
rlabel metal1 -88 94 -80 118 1 GND!|pin|s|0
rlabel metal1 8 154 87 162 1 Vdd!|pin|s|1
rlabel metal1 8 4 87 12 1 Vdd!|pin|s|1
rlabel metal1 8 56 87 64 1 Vdd!|pin|s|1
rlabel metal1 8 110 90 117 1 Vdd!|pin|s|1
rlabel polysilicon -2 13 2 16 1 a|pin|w|3|poly
rlabel polysilicon -62 13 -58 16 1 a|pin|w|3|poly
rlabel polysilicon 61 42 65 45 1 b|pin|w|4|poly
rlabel polysilicon -2 150 2 153 1 c|pin|w|5|poly
rlabel polysilicon -62 150 -58 153 1 c|pin|w|5|poly
rlabel polysilicon 61 121 65 124 1 d|pin|w|6|poly
rlabel polysilicon -92 104 -88 107 1 _SReset!|pin|w|7|poly
rlabel polysilicon 90 105 94 108 1 _PReset!|pin|w|8|poly
<< end >>

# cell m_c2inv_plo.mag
magic
tech scmos
<< nselect >>
rect -34 42 0 79
rect -70 -38 0 37
<< pselect >>
rect 0 42 34 79
rect 0 -31 73 37
<< ndiffusion >>
rect -28 67 -8 68
rect -28 63 -8 64
rect -28 54 -8 55
rect -28 50 -8 51
rect -58 23 -50 24
rect -58 15 -50 20
rect -28 15 -8 16
rect -58 7 -50 12
rect -28 7 -8 12
rect -58 3 -50 4
rect -58 -6 -50 -5
rect -58 -14 -50 -9
rect -28 3 -8 4
rect -28 -6 -8 -5
rect -28 -14 -8 -9
rect -58 -22 -50 -17
rect -28 -18 -8 -17
rect -58 -26 -50 -25
<< pdiffusion >>
rect 8 67 28 68
rect 8 63 28 64
rect 8 54 28 55
rect 8 50 28 51
rect 43 29 53 34
rect 43 28 61 29
rect 43 24 61 25
rect 43 19 49 24
rect 8 15 28 16
rect 49 15 61 16
rect 8 7 28 12
rect 8 3 28 4
rect 8 -6 28 -5
rect 49 7 61 12
rect 49 3 61 4
rect 49 -6 61 -5
rect 8 -14 28 -9
rect 49 -14 61 -9
rect 8 -18 28 -17
rect 49 -18 61 -17
<< ntransistor >>
rect -28 64 -8 67
rect -28 51 -8 54
rect -58 20 -50 23
rect -58 12 -50 15
rect -28 12 -8 15
rect -58 4 -50 7
rect -28 4 -8 7
rect -58 -9 -50 -6
rect -28 -9 -8 -6
rect -58 -17 -50 -14
rect -28 -17 -8 -14
rect -58 -25 -50 -22
<< ptransistor >>
rect 8 64 28 67
rect 8 51 28 54
rect 43 25 61 28
rect 8 12 28 15
rect 49 12 61 15
rect 8 4 28 7
rect 49 4 61 7
rect 8 -9 28 -6
rect 49 -9 61 -6
rect 8 -17 28 -14
rect 49 -17 61 -14
<< polysilicon >>
rect -33 64 -28 67
rect -8 64 -4 67
rect -33 54 -30 64
rect -33 51 -28 54
rect -8 51 -4 54
rect 4 64 8 67
rect 28 64 33 67
rect 30 54 33 64
rect 4 51 8 54
rect 28 51 33 54
rect 39 25 43 28
rect 61 25 65 28
rect -62 20 -58 23
rect -50 20 -46 23
rect -62 12 -58 15
rect -50 12 -28 15
rect -8 12 8 15
rect 28 12 49 15
rect 61 12 65 15
rect -63 4 -58 7
rect -50 4 -45 7
rect -40 4 -28 7
rect -8 4 8 7
rect 28 4 32 7
rect -63 -1 -60 4
rect -62 -6 -60 -1
rect -62 -9 -58 -6
rect -50 -9 -45 -6
rect -40 -14 -37 4
rect 37 -6 40 12
rect 45 4 49 7
rect 61 4 66 7
rect 63 -1 66 4
rect 63 -6 65 -1
rect -32 -9 -28 -6
rect -8 -9 8 -6
rect 28 -9 40 -6
rect 45 -9 49 -6
rect 61 -9 65 -6
rect -62 -17 -58 -14
rect -50 -17 -28 -14
rect -8 -17 8 -14
rect 28 -17 49 -14
rect 61 -17 65 -14
rect -62 -25 -58 -22
rect -50 -25 -46 -22
<< ndcontact >>
rect -28 68 -8 76
rect -28 55 -8 63
rect -28 42 -8 50
rect -58 24 -50 32
rect -28 16 -8 24
rect -58 -5 -50 3
rect -28 -5 -8 3
rect -28 -26 -8 -18
rect -58 -34 -50 -26
<< pdcontact >>
rect 8 68 28 76
rect 8 55 28 63
rect 8 42 28 50
rect 53 29 61 37
rect 8 16 28 24
rect 49 16 61 24
rect 8 -5 28 3
rect 49 -5 61 3
rect 8 -26 28 -18
rect 49 -26 61 -18
<< polycontact >>
rect -4 51 4 67
rect -70 -9 -62 -1
rect 65 -9 73 -1
<< metal1 >>
rect -28 75 -8 76
rect -28 69 -27 75
rect -9 69 -8 75
rect -28 68 -8 69
rect 8 75 28 76
rect 8 69 9 75
rect 27 69 28 75
rect 8 68 28 69
rect -28 55 -8 57
rect -4 51 4 67
rect 8 55 28 57
rect -28 42 -8 50
rect 8 42 28 50
rect -58 24 -50 32
rect -27 30 -9 42
rect 9 30 27 42
rect 53 33 61 37
rect 53 29 69 33
rect -58 16 -8 24
rect 8 16 61 24
rect 65 7 69 29
rect 57 3 69 7
rect -70 -9 -62 -1
rect -58 -5 61 3
rect 65 -9 73 -1
rect -67 -14 70 -9
rect -58 -24 -27 -18
rect -9 -24 -8 -18
rect -58 -34 -50 -24
rect -28 -26 -8 -24
rect 8 -24 9 -18
rect 27 -24 61 -18
rect 8 -26 61 -24
<< m2contact >>
rect -27 69 -9 75
rect 9 69 27 75
rect -28 57 -8 63
rect 8 57 28 63
rect -27 24 -9 30
rect 9 24 27 30
rect -27 -24 -9 -18
rect 9 -24 27 -18
<< metal2 >>
rect -28 57 28 63
<< m3contact >>
rect -27 69 -9 75
rect 9 69 27 75
rect -27 24 -9 30
rect 9 24 27 30
rect -27 -24 -9 -18
rect 9 -24 27 -18
<< metal3 >>
rect -27 -38 -9 79
rect 9 -38 27 79
<< labels >>
rlabel metal1 -66 -5 -66 -5 1 x
rlabel metal1 57 33 57 33 5 _x
rlabel metal1 69 -5 69 -5 1 x
rlabel space -71 -38 -28 37 7 ^n1
rlabel space -35 42 -28 79 7 ^n2
rlabel space 28 42 35 79 3 ^p2
rlabel space 28 -31 74 41 3 ^p1
rlabel metal3 -27 -38 -9 79 1 GND!|pin|s|0
rlabel metal3 9 -38 27 79 1 Vdd!|pin|s|1
rlabel metal1 -58 -34 -50 -18 1 GND!|pin|s|0
rlabel metal1 -58 -24 -8 -18 1 GND!|pin|s|0
rlabel metal1 -28 -26 -8 -18 1 GND!|pin|s|0
rlabel metal1 -58 16 -8 24 1 GND!|pin|s|0
rlabel metal1 -28 16 -8 24 1 GND!|pin|s|0
rlabel metal1 -58 24 -50 32 1 GND!|pin|s|0
rlabel metal1 -27 24 -9 42 1 GND!|pin|s|0
rlabel metal1 -28 42 -8 50 1 GND!|pin|s|0
rlabel metal1 -28 68 -8 76 1 GND!|pin|s|0
rlabel metal1 8 -26 61 -18 1 Vdd!|pin|s|1
rlabel metal1 8 16 61 24 1 Vdd!|pin|s|1
rlabel metal1 9 24 27 42 1 Vdd!|pin|s|1
rlabel metal1 8 42 28 50 1 Vdd!|pin|s|1
rlabel metal1 8 68 28 76 1 Vdd!|pin|s|1
rlabel polysilicon -1 -17 3 -14 1 a|pin|w|3|poly
rlabel polysilicon -40 -17 -36 -14 1 a|pin|w|3|poly
rlabel polysilicon -62 -17 -58 -14 1 a|pin|w|3|poly
rlabel polysilicon 35 12 39 15 1 b|pin|w|4|poly
rlabel polysilicon 61 12 65 15 1 b|pin|w|4|poly
rlabel polysilicon -62 -25 -58 -22 1 _SReset!|pin|w|5|poly
rlabel polysilicon -50 -25 -46 -22 1 _SReset!|pin|w|5|poly
rlabel polysilicon -62 20 -58 23 1 _SReset!|pin|w|6|poly
rlabel polysilicon -50 20 -46 23 1 _SReset!|pin|w|6|poly
rlabel polysilicon 39 25 43 28 1 _PReset!|pin|w|7|poly
rlabel polysilicon 61 25 65 28 1 _PReset!|pin|w|7|poly
rlabel metal1 -58 -5 61 3 1 _x|pin|s|2
rlabel metal1 -4 51 4 67 1 _x|pin|s|8
rlabel metal2 -28 57 28 63 1 x|pin|s|9
rlabel metal1 -67 -14 70 -9 1 x|pin|s|10
<< end >>

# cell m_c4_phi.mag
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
